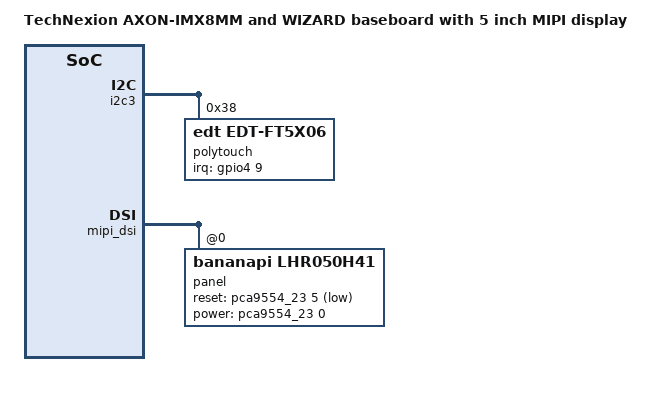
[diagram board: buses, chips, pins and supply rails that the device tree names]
/dts-v1/;
/plugin/;

#include <dt-bindings/interrupt-controller/irq.h>
#include <dt-bindings/gpio/gpio.h>

/{
    fragment@0 {
        target-path = "/";
        __overlay__ {
            model = "TechNexion AXON-IMX8MM and WIZARD baseboard with 5 inch MIPI display";
        };
    };

    fragment@1 {
        target = <&i2c3>;
        __overlay__ {
            #address-cells = <1>;
            #size-cells = <0>;
            status = "okay";

            polytouch: edt-ft5x06@38 {
                compatible = "edt,edt-ft5x06";
                reg = <0x38>;
                pinctrl-names = "default";
                pinctrl-0 = <&pinctrl_ft5336_touch_irq>;
                interrupt-parent = <&gpio4>;
                interrupts = <9 IRQ_TYPE_EDGE_FALLING>;
                touchscreen-size-x = <720>;
                touchscreen-size-y = <1280>;
                status="okay";
            };
        };
    };

    fragment@2 {
        target = <&mipi_dsi>;
        __overlay__ {
            #address-cells = <1>;
            #size-cells = <0>;
            status = "okay";

            panel@0 {
                compatible = "bananapi,lhr050h41", "ilitek,ili9881c";
                reset-gpio = <&pca9554_23 5 GPIO_ACTIVE_LOW>;
                power-gpio = <&pca9554_23 0 GPIO_ACTIVE_HIGH>;
                reg = <0>;
                timing-mode = <0>;
                video-mode = <2>;
                /* 0: burst mode
                * 1: non-burst mode with sync event
                * 2: non-burst mode with sync pulse
                */
                status = "okay";
            };
        };
    };
};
